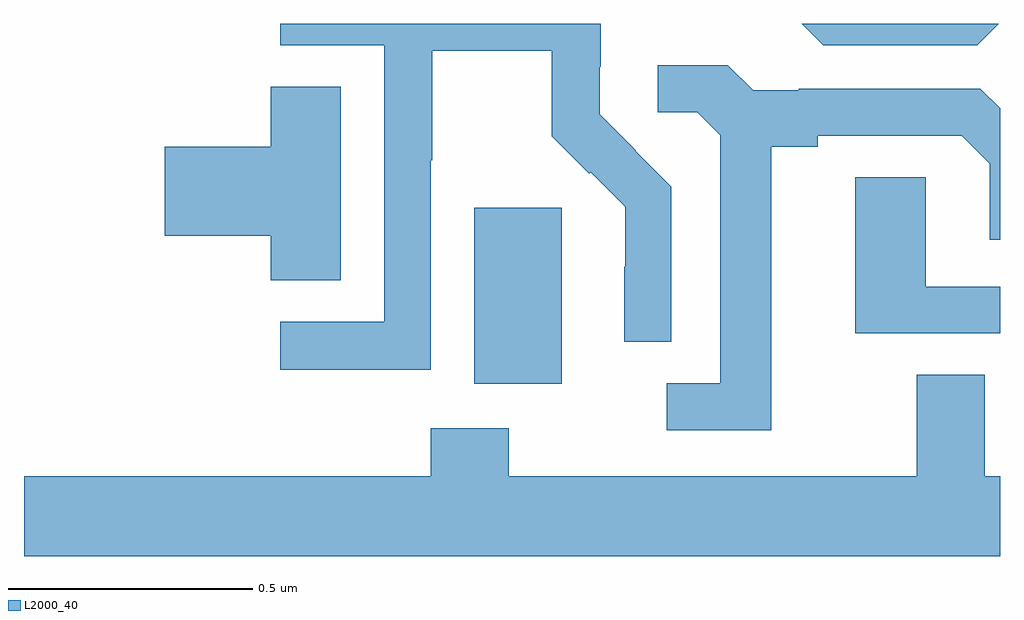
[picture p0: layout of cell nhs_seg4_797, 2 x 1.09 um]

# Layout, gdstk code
import gdstk
lib = gdstk.Library(unit=1e-6, precision=1e-09)
def R(c, l, rs):  # rectangles x0, y0, x1, y1
    for r in rs: c.add(gdstk.rectangle(r[:2], r[2:], *l))
def P(c, l, *ps):  # polygons
    for p in ps: c.add(gdstk.Polygon(p, *l))
L2000_40 = (2000, 40)

nhs_seg4_797 = lib.new_cell('nhs_seg4_797')
R(nhs_seg4_797, L2000_40, [(120.923,809.162,121.102,809.523)])
P(nhs_seg4_797, L2000_40, [(120.834,809.62),(120.837,809.62),(120.837,809.844),(121.081,809.844),(121.081,809.669),(121.158,809.592),(121.161,809.595),(121.232,809.525),(121.232,809.402),(121.23,809.402),(121.23,809.248),(121.326,809.248),(121.326,809.566),(121.253,809.639),(121.254,809.64),(121.18,809.714),(121.18,809.811),(121.182,809.811),(121.182,809.9),(120.525,809.9),(120.525,809.856),(120.738,809.856),(120.738,809.289),(120.525,809.289),(120.525,809.191),(120.834,809.191)],
  [(121.997,809.9),(121.594,809.9),(121.638,809.856),(121.953,809.856)],
  [(121.531,809.648),(121.627,809.648),(121.627,809.67),(121.922,809.67),(121.979,809.613),(121.979,809.457),(122,809.457),(122,809.726),(121.96,809.766),(121.588,809.766),(121.588,809.763),(121.494,809.763),(121.442,809.815),(121.299,809.815),(121.299,809.718),(121.38,809.718),(121.427,809.671),(121.427,809.163),(121.317,809.163),(121.317,809.067),(121.531,809.067)],
  [(120.649,809.771),(120.506,809.771),(120.506,809.648),(120.288,809.648),(120.288,809.465),(120.506,809.465),(120.506,809.374),(120.649,809.374)],
  [(122,809.361),(121.848,809.361),(121.848,809.585),(121.703,809.585),(121.703,809.265),(122,809.265)],
  [(122,808.972),(121.969,808.972),(121.969,809.18),(121.829,809.18),(121.829,808.972),(120.993,808.972),(120.993,809.071),(120.833,809.071),(120.833,808.972),(120,808.972),(120,808.808),(122,808.808)])

lib.write_gds('nhs_seg4_797.gds')
